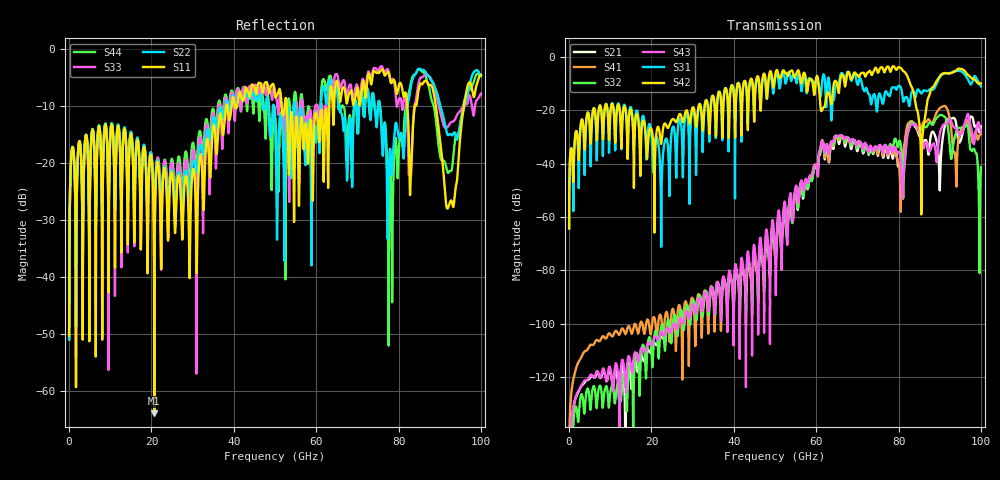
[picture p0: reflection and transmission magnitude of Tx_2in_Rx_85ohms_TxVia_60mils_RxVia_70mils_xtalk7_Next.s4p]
! Info: Touchstone file created by Circ.  Input file=Tx_2in_Rx_85ohms_TxVia_60mils_RxVia_70mils.circ
# Hz S RI R 50
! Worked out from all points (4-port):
!   10000 points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, 10 MHz to 100 GHz, reference 50 ohm
!   strongest paths, dB at 10 MHz, 25.01 GHz, 50.01 GHz, 75.01 GHz, 100 GHz:
!     S42: -64.2, -23.5, -7.3, -6.0, -10.0
!     S31: -64.2, -27.2, -8.4, -16.1, -11.0
!     S43: -154.5, -101.7, -73.4, -34.0, -28.1
!     S32: -170.1, -103.4, -73.8, -34.7, -41.3
!     S41: -150.2, -94.8, -74.6, -35.9, -29.0
!     S21: -166.9, -101.1, -72.1, -37.0, -26.0
!   lowest |S11| = -63.9 dB at 20.68 GHz (marker M1), VSWR 1.00, Z = 50 - j0.0554 ohm
!   |S11| at or under -10 dB: start of sweep to 38.14 GHz; 52.86 GHz to 63.19 GHz (10.33 GHz wide, 17.8 % of centre); 89.07 GHz to 95.87 GHz (6.797 GHz wide, 7.35 % of centre)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
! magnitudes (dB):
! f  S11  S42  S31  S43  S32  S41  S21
! 10 MHz  -50.3  -64.2  -64.2  -154.5  -170.1  -150.2  -166.9
! 6 GHz  -15.6  -19.2  -19.2  -120.1  -123.3  -107.6  -120.1
! 20.68 GHz  -63.9  -47.3  -34.6  -105.1  -104.8  -97.6  -107.1
! 47.16 GHz  -7.2  -6.8  -7.8  -79.5  -79.4  -81.0  -78.0
! 64.87 GHz  -5.7  -9.3  -10.4  -29.6  -29.5  -30.2  -30.1
! 78.03 GHz  -5.6  -5.6  -13.9  -33.3  -32.7  -34.0  -34.9
! 100 GHz  -4.5  -10.0  -11.0  -28.1  -41.3  -29.0  -26.0
